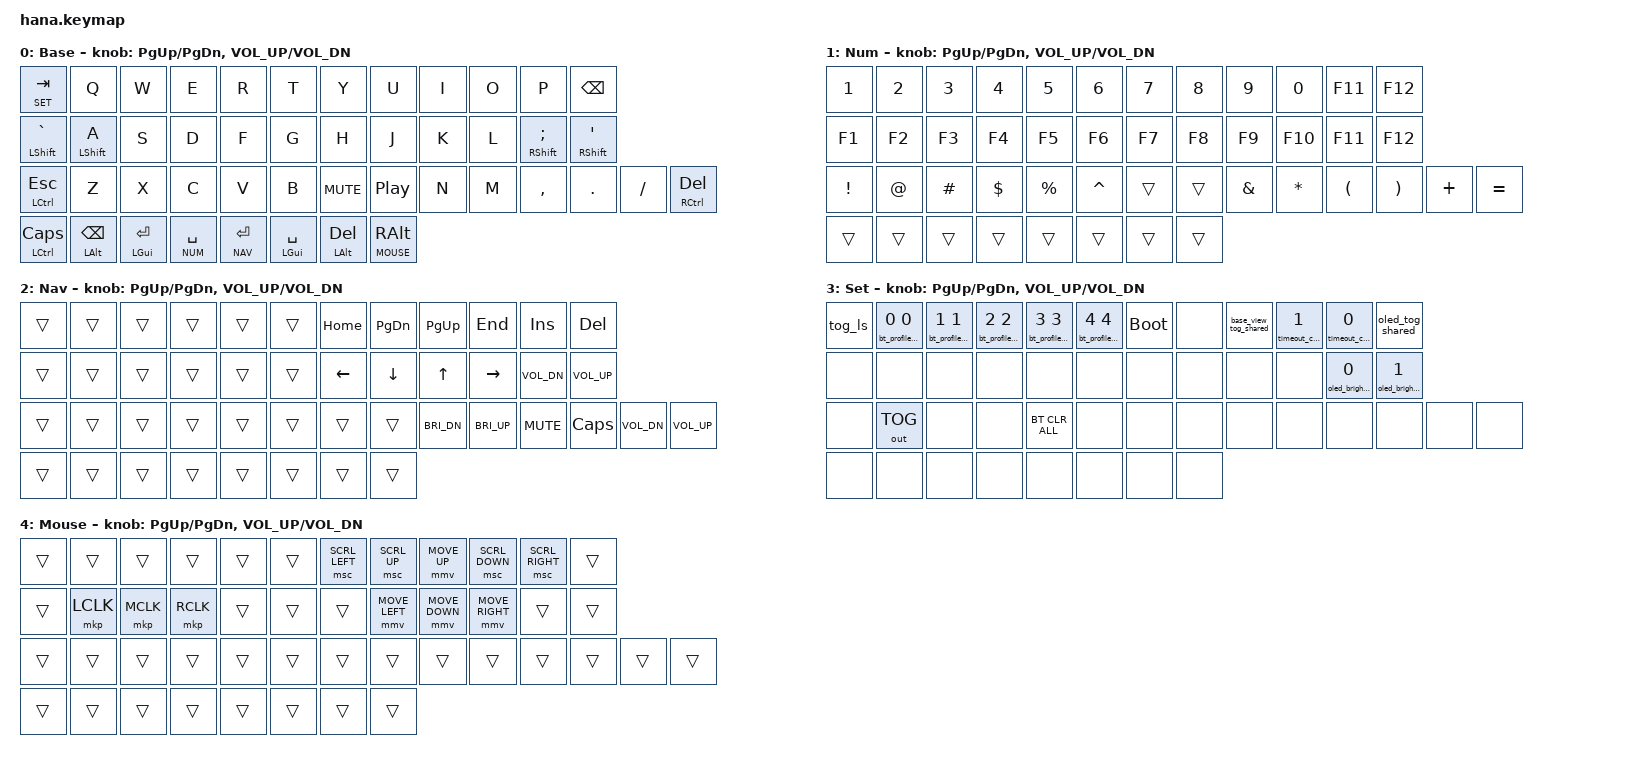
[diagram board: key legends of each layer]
#include <behaviors.dtsi>
#include <dt-bindings/zmk/keys.h>
#include <dt-bindings/zmk/bt.h>
#include <dt-bindings/zmk/outputs.h>
#include <dt-bindings/zmk/pointing.h>
#include "../common/studio_features.dtsi"
#include "../common/studio_runtime_layers.dtsi"
#include "../common/studio_unlock_combo.dtsi"


#define BASE  0
#define NUM   1
#define NAV   2
#define SET   3
#define MOUSE 4


// Layout-shift behavior and GUI/Alt mapping come from the shared feature include.

// Tune all Hana mod-tap keys for easier rolling/typing.
// Keep the 200 ms tapping term, but avoid hold-preferred's aggressive modifier activation.
&mt {
    flavor = "balanced";
    tapping-term-ms = <200>;
    quick-tap-ms = <175>;
    hold-trigger-key-positions = <
        0xffffffff 0xffffffff 0xffffffff 0xffffffff
        0xffffffff 0xffffffff 0xffffffff 0xffffffff
        0xffffffff 0xffffffff 0xffffffff 0xffffffff
        0xffffffff 0xffffffff 0xffffffff 0xffffffff
        0xffffffff 0xffffffff 0xffffffff 0xffffffff
        0xffffffff 0xffffffff 0xffffffff 0xffffffff
        0xffffffff 0xffffffff 0xffffffff 0xffffffff
        0xffffffff 0xffffffff 0xffffffff 0xffffffff
    >;
    runtime-editable;
    runtime-default-active;
    display-name = "Mod-Tap";
};

&lt {
    hold-trigger-key-positions = <
        0xffffffff 0xffffffff 0xffffffff 0xffffffff
        0xffffffff 0xffffffff 0xffffffff 0xffffffff
        0xffffffff 0xffffffff 0xffffffff 0xffffffff
        0xffffffff 0xffffffff 0xffffffff 0xffffffff
        0xffffffff 0xffffffff 0xffffffff 0xffffffff
        0xffffffff 0xffffffff 0xffffffff 0xffffffff
        0xffffffff 0xffffffff 0xffffffff 0xffffffff
        0xffffffff 0xffffffff 0xffffffff 0xffffffff
    >;
    runtime-editable;
    runtime-default-active;
    display-name = "Layer-Tap";
};

&bt_profile_shared {
    hold-trigger-key-positions = <
                0xffffffff 0xffffffff 0xffffffff 0xffffffff
                0xffffffff 0xffffffff 0xffffffff 0xffffffff
                0xffffffff 0xffffffff 0xffffffff 0xffffffff
                0xffffffff 0xffffffff 0xffffffff 0xffffffff
                0xffffffff 0xffffffff 0xffffffff 0xffffffff
                0xffffffff 0xffffffff 0xffffffff 0xffffffff
                0xffffffff 0xffffffff 0xffffffff 0xffffffff
                0xffffffff 0xffffffff 0xffffffff 0xffffffff
            >;
};

/ {
    keymap {
        compatible = "zmk,keymap";

        base_layer {
            display-name = "Base";
            sensor-bindings = <&inc_dec_kp PG_UP PG_DN &inc_dec_kp C_VOL_UP C_VOL_DN>;
            bindings = <
                &lt SET TAB  &kp Q              &kp W      &kp E      &kp R      &kp T                         &kp Y      &kp U      &kp I      &kp O      &kp P              &kp BSPC
                &mt LSHIFT GRAVE    &mt LSHIFT A       &kp S      &kp D      &kp F      &kp G                         &kp H      &kp J      &kp K      &kp L      &mt RSHIFT SEMI    &mt RSHIFT SQT
                &mt LCTRL ESC       &kp Z              &kp X      &kp C      &kp V      &kp B      &kp C_MUTE  &kp C_PP &kp N      &kp M      &kp COMMA  &kp DOT    &kp FSLH           &mt RCTRL DEL
                                      &mt LCTRL CAPS     &mt LALT BSPC        &mt LGUI RET &lt NUM SPACE                   &lt NAV RET &mt LGUI SPACE &mt LALT DEL &lt MOUSE RALT
            >;
        };

        num_layer {
            display-name = "Num";
            sensor-bindings = <&inc_dec_kp PG_UP PG_DN &inc_dec_kp C_VOL_UP C_VOL_DN>;
            bindings = <
                &kp N1 &kp N2 &kp N3 &kp N4 &kp N5 &kp N6 &kp N7 &kp N8 &kp N9 &kp N0 &kp F11 &kp F12
                &kp F1 &kp F2 &kp F3 &kp F4 &kp F5 &kp F6 &kp F7 &kp F8 &kp F9 &kp F10 &kp F11 &kp F12
                &kp EXCL &kp AT &kp HASH &kp DLLR &kp PRCNT &kp CARET &trans &trans &kp AMPS &kp ASTRK &kp LPAR &kp RPAR &kp PLUS &kp EQUAL
                &trans &trans &trans &trans &trans &trans &trans &trans
            >;
        };

        nav_layer {
            display-name = "Nav";
            sensor-bindings = <&inc_dec_kp PG_UP PG_DN &inc_dec_kp C_VOL_UP C_VOL_DN>;
            bindings = <
                &trans &trans &trans &trans &trans &trans &kp HOME &kp PG_DN &kp PG_UP &kp END &kp INS &kp DEL
                &trans &trans &trans &trans &trans &trans &kp LEFT &kp DOWN &kp UP &kp RIGHT &kp C_VOL_DN &kp C_VOL_UP
                &trans &trans &trans &trans &trans &trans &trans &trans &kp C_BRI_DN &kp C_BRI_UP &kp C_MUTE &kp CAPS &kp C_VOL_DN &kp C_VOL_UP
                &trans &trans &trans &trans &trans &trans &trans &trans
            >;
        };

        set_layer {
            display-name = "Set";
            sensor-bindings = <&inc_dec_kp PG_UP PG_DN &inc_dec_kp C_VOL_UP C_VOL_DN>;
            bindings = <
                &tog_ls  &bt_profile_shared 0 0      &bt_profile_shared 1 1  &bt_profile_shared 2 2  &bt_profile_shared 3 3  &bt_profile_shared 4 4       &bootloader  &none  &base_view_tog_shared  &timeout_cycle_shared 1  &timeout_cycle_shared 0  &oled_tog_shared
                &none     &none               &none          &none          &none          &none                          &none        &none  &none  &none  &oled_brightness_shared 0  &oled_brightness_shared 1
                &none     &out OUT_TOG        &none          &none          &bt BT_CLR_ALL &none        &none    &none   &none        &none  &none  &none  &none  &none
                           &none               &none          &none          &none                                      &none        &none  &none  &none
            >;
        };


        mouse_layer {
            display-name = "Mouse";
            sensor-bindings = <&inc_dec_kp PG_UP PG_DN &inc_dec_kp C_VOL_UP C_VOL_DN>;
            bindings = <
                &trans    &trans             &trans        &trans        &trans        &trans                         &msc SCRL_LEFT  &msc SCRL_UP    &mmv MOVE_UP    &msc SCRL_DOWN  &msc SCRL_RIGHT  &trans
                &trans    &mkp LCLK          &mkp MCLK     &mkp RCLK     &trans        &trans                         &trans          &mmv MOVE_LEFT &mmv MOVE_DOWN  &mmv MOVE_RIGHT &trans            &trans
                &trans    &trans             &trans        &trans        &trans        &trans       &trans    &trans  &trans          &trans          &trans          &trans          &trans            &trans
                           &trans             &trans        &trans        &trans                                  &trans          &trans          &trans          &trans
            >;
        };


        ZMK_STUDIO_RUNTIME_LAYER_SLOTS_4
    };
};
